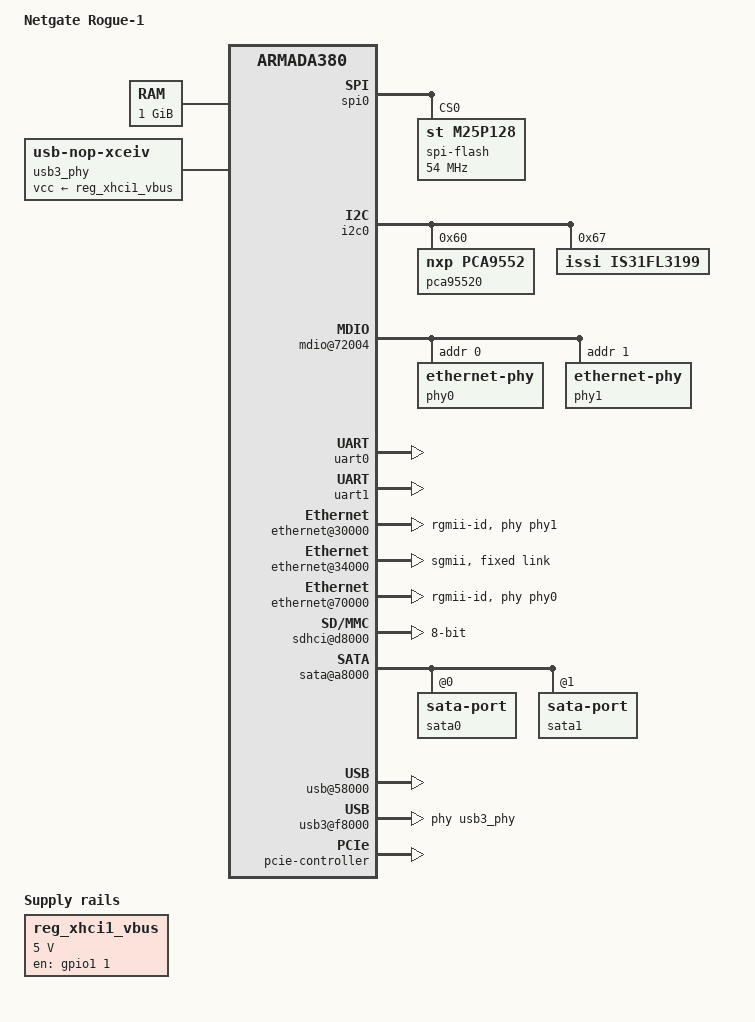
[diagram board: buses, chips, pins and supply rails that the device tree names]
/*
 * Device Tree file for Marvell Armada 385 Access Point Development board
 * (DB-88F6820-AP)
 *
 *  Copyright (C) 2014 Marvell
 *
 * Nadav Haklai <nadavh@marvell.com>
 *
 * This file is dual-licensed: you can use it either under the terms
 * of the GPL or the X11 license, at your option. Note that this dual
 * licensing only applies to this file, and not this project as a
 * whole.
 *
 *  a) This file is licensed under the terms of the GNU General Public
 *     License version 2.  This program is licensed "as is" without
 *     any warranty of any kind, whether express or implied.
 *
 * Or, alternatively,
 *
 *  b) Permission is hereby granted, free of charge, to any person
 *     obtaining a copy of this software and associated documentation
 *     files (the "Software"), to deal in the Software without
 *     restriction, including without limitation the rights to use,
 *     copy, modify, merge, publish, distribute, sublicense, and/or
 *     sell copies of the Software, and to permit persons to whom the
 *     Software is furnished to do so, subject to the following
 *     conditions:
 *
 *     The above copyright notice and this permission notice shall be
 *     included in all copies or substantial portions of the Software.
 *
 *     THE SOFTWARE IS PROVIDED "AS IS", WITHOUT WARRANTY OF ANY KIND,
 *     EXPRESS OR IMPLIED, INCLUDING BUT NOT LIMITED TO THE WARRANTIES
 *     OF MERCHANTABILITY, FITNESS FOR A PARTICULAR PURPOSE AND
 *     NONINFRINGEMENT. IN NO EVENT SHALL THE AUTHORS OR COPYRIGHT
 *     HOLDERS BE LIABLE FOR ANY CLAIM, DAMAGES OR OTHER LIABILITY,
 *     WHETHER IN AN ACTION OF CONTRACT, TORT OR OTHERWISE, ARISING
 *     FROM, OUT OF OR IN CONNECTION WITH THE SOFTWARE OR THE USE OR
 *     OTHER DEALINGS IN THE SOFTWARE.
 */

/dts-v1/;
#include "armada-385.dtsi"

/* For Rogue-1 SERDES layout is
 *
 * | PHY Lane | Host Controller | Rate (Gbps) |
 * | SRD0     | SATA 0		| 3.0         |
 * | SRD1     | PCIe0 RC	| 5.0	      |
 * | SRD2     | SATA 1		| 3.0	      |
 * | SRD3     | SGMII 2		| 3.125	      |
 * | SRD4     | PCIe1 RC	| 5.0	      |
 * | SRD5     | USB3 1		| 5.0	      |
 */

#include <dt-bindings/gpio/gpio.h>

/ {
	model = "Netgate Rogue-1";
	compatible = "marvell,a385-db-ap", "marvell,armada385", "marvell,armada380";

	chosen {
		stdout-path = "serial0:115200n8";
	};

	/* This needs to be defined per variant depending on memory population */
	memory {
		device_type = "memory";
		reg = <0x00000000 0x40000000>; /* 1GB */
	};

	soc {
	/* range definitions from armada-38x.dtsi
	 * <0 MBUS_ID(0x01, 0x2f) 0 0xffffffff> devbus-bootcs
	 * <0 MBUS_ID(0x01, 0x3e) 0 0xffffffff> devbus-cs0
	 * <0 MBUS_ID(0x01, 0x3d) 0 0xffffffff> devbus-cs1
	 * <0 MBUS_ID(0x01, 0x3b) 0 0xffffffff> devbus-cs2
	 * <0 MBUS_ID(0x01, 0x37) 0 0xffffffff> devbus-cs3
	 * <0 MBUS_ID(0xf0, 0x01) 0 0x100000>	internal-regs @ 0xf100_0000
	 * <0 MBUS_ID(0x09, 0x19) 0 0x800>	crypto-sram0
	 * <0 MBUS_ID(0x09, 0x15) 0 0x800>	crypto-sram1
	 * <0 MBUS_ID(0x0c, 0x04) 0 0x100000>	bm_bppi
	 */ 
	 	ranges = <MBUS_ID(0xf0, 0x01) 0 0xf1000000 0x100000
	 		  MBUS_ID(0x01, 0x1d) 0 0xfff00000 0x100000
	 		  MBUS_ID(0x09, 0x19) 0 0xf1100000 0x10000
	 		  MBUS_ID(0x09, 0x15) 0 0xf1110000 0x10000
	 		  MBUS_ID(0x0c, 0x04) 0 0xf1200000 0x100000>;

		internal-regs {
			/* Rogue one uses the following pin mapping:
			 * MPP[22]   SPI0_MOSI
			 * MPP[23]   SPI0_SCK
			 * MPP[24]   SPI0_MISO
			 * MPP[25]   SPI0_CSn[0]
			 * MPP[26]   SPI0_CSn[1]
			 */
			spi0: spi@10600 {
			        pinctrl-names = "default";
				/* TODO - Double check pin mappings */
				pinctrl-0 = <&spi0_pins>;
				status = "okay";

				spi-flash@0 {
					#address-cells = <1>;
					#size-cells = <1>;
					compatible = "st,m25p128", "jedec,spi-nor";
					reg = <0>; /* Chip select 0 */
					spi-max-frequency = <54000000>;
				};
			};

			/* Rogue one uses the following pin mapping:
			 * MPP[2]   I2C0_SCK
			 * MPP[3]   I2C0_SDA
			 */
			i2c0: i2c@11000 {
				pinctrl-names = "default";
				pinctrl-0 = <&i2c0_pins>;
				status = "okay";

				/*
				 * This bus is wired to two EEPROM
				 * sockets, one of which holding the
				 * board ID used by the	bootloader.
				 * Erasing this EEPROM's content will
				 * brick the board.
				 * Use this bus with caution.
				 */

				pca95520 {
					compatible = "nxp,pca9552";
					gpio-controller;
					#gpio-cells = <2>;
					reg = <0x60>;
					status = "okay";
				};

				is31fl3199 {
					compatible = "issi,is31fl3199";
					gpio-controller;
					#gpio-cells = <2>;
					reg = <0x67>;
					status = "okay";
				};
			};

			/* TODO - Add definitions for the I2C LED/GPIO parts */

			/* Rogue one uses the following pin mapping:
			 * MPP[4]   SMI_MDC
			 * MPP[5]   SMI_MDIO
			 */
			mdio@72004 {
				pinctrl-names = "default";
				pinctrl-0 = <&mdio_pins>;

				/* Marvell 1510 @ address 0x00 */
				phy0: ethernet-phy@0 {
					reg = <0>;
				};

				/* Marvell 1510 @ address 0x01 */
				phy1: ethernet-phy@1 {
					reg = <1>;
				};

				/* Marvell 88E6141 @ address 0x10-x01f, 
				 * see the DSA entry below for switch setup
				 */
			};

			/* UART0 is exposed through miniUSB socket */
			/* Rogue one uses the following pin mapping:
			 * MPP[0]   UA0_RXD
			 * MPP[1]   UA0_TXD
			 */
			uart0: serial@12000 {
				pinctrl-names = "default";
				pinctrl-0 = <&uart0_pins>;
				status = "okay";
			};

			/* UART1 is run to Mikrobus & debug headers */
			/* Rogue one uses the following pin mapping:
			 * MPP[19]   UA1_RXD
			 * MPP[20]   UA1_TXD
			 */
			uart1: serial@12100 {
				pinctrl-names = "default";
				pinctrl-0 = <&uart1_pins>;
				status = "okay";
			};

			/* TODO - Any other GPIO that have functions we need
			 * to export here?  (USB OC, resets, etc)
			 */
			pinctrl@18000 {
				xhci1_vbus_pins: xhci1-vbus-pins {
					marvell,pins = "mpp33";
					marvell,function = "gpio";
				};
			};

			/* Ethernet 1/2.5Gbps MAC Port 1 */
			/* Can operate as: SGMII/HS-SGMII/RGMII
			 * This MAC shares an MBUS unit with MAC 2
			 *
			 * Rogue one uses the following pin mapping:
			 * MPP[21]	GE1_RXD[0]
			 * MPP[27]	GE1_TXCLKOUT
			 * MPP[28]	GE1_TXD[0]
			 * MPP[29]	GE1_TXD[1]
			 * MPP[30]	GE1_TXD[2]
			 * MPP[31]	GE1_TXD[3]
			 * MPP[32]	GE1_TXCTL
			 * MPP[37]	GE1_RXCLK
			 * MPP[38]	GE1_RXD[1]
			 * MPP[39]	GE1_RXD[2]
			 * MPP[40]	GE1_RXD[3]
			 * MPP[41]	GE1_RXCTL
			 */
			ethernet@30000 {
				pinctrl-names = "default";

				/*
				 * The Reference Clock 0 is used to
				 * provide a clock to the PHY
				 */
				pinctrl-0 = <&ge1_rgmii_pins>;
				status = "okay";
				phy = <&phy1>;
				phy-mode = "rgmii-id";
				buffer-manager = <&bm>;
				bm,pool-long = <1>;
				bm,pool-short = <3>;
			};

			/* Ethernet 1/2.5Gbps MAC Port 2 */
			/* Can operate as: SGMII/HS-SGMII/RGMII
			 * This MAC shares an MBUS unit with MAC 2
			 *
			 * Rogue one uses the following pin mapping:
			 * SRD3 as HS-SGMII
			 */
			ethernet@34000 {
				status = "okay";
				phy-mode = "sgmii";
				buffer-manager = <&bm>;
				bm,pool-long = <2>;
				bm,pool-short = <3>;
				fixed-link {
					speed = <2500>;
					full-duplex;
				};
			};

			/* Ethernet 1/2.5Gbps MAC Port 0
			 * Can operate as: SGMII/HS-SGMII/RGMII/MII
			 * This MAC shares an MBUS unit with the SMI controller
			 */
			ethernet@70000 {
				pinctrl-names = "default";

				/*
				 * The Reference Clock 0 is used to
				 * provide a clock to the PHY
				 */
				pinctrl-0 = <&ge0_rgmii_pins>;
				status = "okay";
				phy = <&phy0>;
				phy-mode = "rgmii-id";
				buffer-manager = <&bm>;
				bm,pool-long = <0>;
				bm,pool-short = <3>;
			};

			/* Rogue-1 prototypes connect a SD card to the bottom 3 DAT
			 * lines, and CD# is run to MPP51 (as GPIO)
			 * Rogue one uses the following pin mapping:
			 * MPP[48]	GE1_RXD[0]
			 * MPP[49]	GE1_TXCLKOUT
			 * MPP[50]	GE1_TXD[0]
			 * MPP[52]	GE1_TXD[1]
			 * MPP[53]	GE1_TXD[2]
			 * MPP[54]	GE1_TXD[3]
			 * MPP[55]	GE1_TXCTL
			 * MPP[57]	GE1_RXCLK
			 * MPP[58]	GE1_RXD[1]
			 * MPP[59]	GE1_RXD[2]
			 */
			sdhci@d8000 {
				pinctrl-names = "default";
				pinctrl-0 = <&sdhci_pins>;
				no-1-8-v;
				/*
				 * A388-GP board v1.5 and higher replace
				 * hitherto card detection method based on GPIO
				 * with the one using DAT3 pin. As they are
				 * incompatible, software-based polling is
				 * enabled with 'broken-cd' property. For boards
				 * older than v1.5 it can be replaced with:
				 * 'cd-gpios = <&expander0 5 GPIO_ACTIVE_LOW>;',
				 * whereas for the newer ones following can be
				 * used instead:
				 * 'dat3-cd;'
				 * 'cd-inverted;'
				 */
				dat3-cd;
				cd-inverted;
				wp-inverted;
				bus-width = <8>;
				status = "okay";
			};

			/* SATA links to M.2 connectors J10 & J11, sataX_pins are
			 * for activity LED MPP muxing to LD17 & LD18
			 */
			sata@a8000 {
				pinctrl-names = "default";
				pinctrl-0 = <&sata0_pins>, <&sata1_pins>;
				status = "okay";
				#address-cells = <1>;
				#size-cells = <0>;

				sata0: sata-port@0 {
					reg = <0>;
				};

				sata1: sata-port@1 {
					reg = <1>;
				};
			};

			/* TODO - check buffer manage offset */
			bm@c8000 {
				status = "okay";
			};

			/* TODO - Any PHY or VBUS setup for EHCI host? */
			usb@58000 {
				status = "okay";
			};

			/* USB 3.0 Device 0 is @ 0x50000
			 * USB 3.0 Host 0 is @ 0xf0000
			 * USB 3.0 Host 1 is @ 0xf8000 */
			usb3@f8000 {
				status = "okay";
				usb-phy = <&usb3_phy>;
			};

			crypto@90000 {
				status = "okay";
			};

			crypto@92000 {
				status = "okay";
			};
		};

		/* TODO - Check buffer manager... */
		bm-bppi {
			status = "okay";
		};

		pcie-controller {
			status = "okay";

			/*
			 * The three PCIe units are accessible through
			 * standard mini-PCIe slots on the board.
			 */
			pcie@1,0 {
				/* Port 0, Lane 0 */
				status = "okay";
			};

			pcie@2,0 {
				/* Port 1, Lane 0 */
				status = "okay";
			};
		};
	};

	/* This is a 88E6141 switch operating in the "Single Chip Mode"
	 * addressing mode where it claims addresses 0x10-0x1f
	 */
	dsa@0 {
		compatible = "marvell,dsa";
		#address-cells = <2>;
		#size-cells = <0>;

		dsa,ethernet = <&eth2>;
		dsa,mii-bus = <&mdio>;

		switch@0 {
			#address-cells = <1>;
			#size-cells = <0>;
			reg = <0x0 0>;

			port@1 {
				reg = <1>;
				label = "lan1";
				vlangroup = <0>;
			};

			port@2 {
				reg = <2>;
				label = "lan2";
				vlangroup = <0>;
			};

			port@3 {
				reg = <3>;
				label = "lan3";
				vlangroup = <0>;
			};

			port@4 {
				reg = <4>;
				label = "lan4";
				vlangroup = <0>;
			};

			port@5 {
				reg = <5>;
				label = "cpu";
				vlangroup = <0>;
				fixed-link {
					speed = <2500>;
					full-duplex;
				};
			};
		};
	 };

	usb3_phy: usb3_phy {
		compatible = "usb-nop-xceiv";
		vcc-supply = <&reg_xhci1_vbus>;
	};

	reg_xhci1_vbus: xhci1-vbus {
		compatible = "regulator-fixed";
		pinctrl-names = "default";
		pinctrl-0 = <&xhci1_vbus_pins>;
		regulator-name = "xhci1-vbus";
		regulator-min-microvolt = <5000000>;
		regulator-max-microvolt = <5000000>;
		enable-active-high;
		gpio = <&gpio1 1 GPIO_ACTIVE_HIGH>;
	};
};
